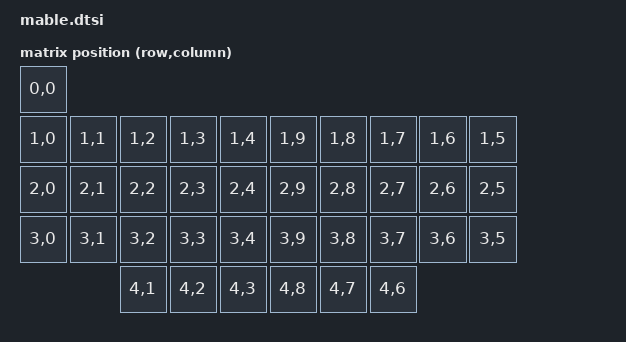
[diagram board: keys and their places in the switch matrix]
/*
 * Copyright (c) 2020 The ZMK Contributors
 *
 * SPDX-License-Identifier: MIT
 */

#include <dt-bindings/zmk/matrix_transform.h>

/ {
    chosen {
        zmk,kscan = &kscan0;
        zmk,matrix_transform = &default_transform;
    };

    default_transform: keymap_transform_0 {
        compatible = "zmk,matrix-transform";
        columns = <10>;
        rows = <5>;
        map = <
            RC(0,0)
            RC(1,0) RC(1,1) RC(1,2) RC(1,3) RC(1,4)  RC(1,9) RC(1,8) RC(1,7) RC(1,6) RC(1,5)
            RC(2,0) RC(2,1) RC(2,2) RC(2,3) RC(2,4)  RC(2,9) RC(2,8) RC(2,7) RC(2,6) RC(2,5)
            RC(3,0) RC(3,1) RC(3,2) RC(3,3) RC(3,4)  RC(3,9) RC(3,8) RC(3,7) RC(3,6) RC(3,5)
                            RC(4,1) RC(4,2) RC(4,3)  RC(4,8) RC(4,7) RC(4,6)
            >;
    };
};
